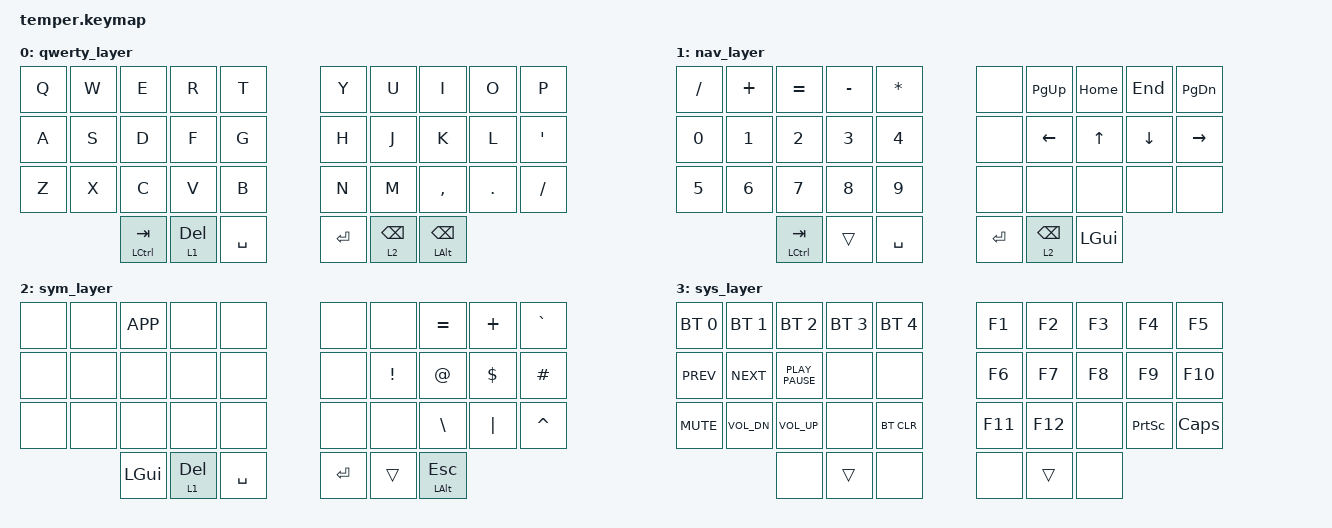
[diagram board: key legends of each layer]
/*
 * Copyright (c) 2020 The ZMK Contributors
 *
 * SPDX-License-Identifier: MIT
 */

#include <behaviors.dtsi>
#include <dt-bindings/zmk/bt.h>
#include <dt-bindings/zmk/keys.h>
#include <dt-bindings/zmk/mouse.h>

#define QWERTY 0
#define NAV 1
#define SYM 2
#define SYS 3

/ {
    conditional_layers {
        compatible = "zmk,conditional-layers";

        tri_layer {
            if-layers = <1 2>;
            then-layer = <3>;
        };
    };

    behaviors {
        holdlayer: holdlayer {
            compatible = "zmk,behavior-hold-tap";
            label = "HOLDLAYER";
            bindings = <&mo>, <&kp>;

            #binding-cells = <2>;
            tapping-term-ms = <1>;
        };
    };

    combos {
        compatible = "zmk,combos";

        parentesisOpen {
            bindings = <&kp LPAR>;
            key-positions = <12 13>;
            layers = <0>;
        };

        corcheteOpen {
            bindings = <&kp LBKT>;
            key-positions = <11 12>;
            layers = <0>;
        };

        llaveOpen {
            bindings = <&kp LBRC>;
            key-positions = <10 11>;
            layers = <0>;
        };

        minus {
            bindings = <&kp MINUS>;
            key-positions = <22 21>;
            layers = <0>;
        };

        amperson {
            bindings = <&kp AMPS>;
            key-positions = <22 23>;
            layers = <0>;
        };

        semicolon {
            bindings = <&kp SEMI>;
            key-positions = <27 28>;
            layers = <0>;
        };

        pointer {
            bindings = <&kp STAR>;
            key-positions = <27 26>;
            layers = <0>;
        };

        parentesisClose {
            bindings = <&kp RPAR>;
            key-positions = <16 17>;
            layers = <0>;
        };

        corcheteClose {
            bindings = <&kp RBKT>;
            key-positions = <17 18>;
            layers = <0>;
        };

        llaveClose {
            bindings = <&kp RBRC>;
            key-positions = <19 18>;
            layers = <0>;
        };
    };

    keymap {
        compatible = "zmk,keymap";

        qwerty_layer {
            bindings = <
&kp Q  &kp W  &kp E          &kp R                &kp T      &kp Y      &kp U              &kp I         &kp O    &kp P
&kp A  &kp S  &kp D          &kp F          &kp G      &kp H      &kp J        &kp K         &kp L    &kp SQT
&kp Z  &kp X  &kp C          &kp V                &kp B      &kp N      &kp M              &kp COMMA     &kp DOT  &kp FSLH
              &mt LCTRL TAB  &holdlayer 1 DEL  &kp SPACE  &kp ENTER  &holdlayer 2 BSPC  &mt LALT BSPC
            >;
        };

        nav_layer {
            bindings = <
&kp FSLH  &kp PLUS  &kp EQUAL      &kp MINUS  &kp STAR   &none      &kp PG_UP          &kp HOME      &kp END   &kp PG_DN
&kp N0    &kp N1    &kp N2         &kp N3     &kp N4     &none      &kp LEFT           &kp UP        &kp DOWN  &kp RIGHT
&kp N5    &kp N6    &kp N7         &kp N8     &kp N9     &none      &none              &none         &none     &none
                    &mt LCTRL TAB  &trans     &kp SPACE  &kp ENTER  &holdlayer 2 BSPC  &kp LEFT_GUI
            >;
        };

        sym_layer {
            bindings = <
&none          &none       &kp K_APP     &none            &none     &none     &none     &kp EQUAL     &kp PLUS  &kp GRAVE
&none          &none  &none  &none      &none      &none      &kp EXCL  &kp AT        &kp DLLR  &kp HASH
&none          &none           &none         &none                &none      &none      &none     &kp BSLH      &kp PIPE  &kp CARET
                                &kp LEFT_GUI  &holdlayer 1 DEL  &kp SPACE  &kp ENTER  &trans    &mt LALT ESC
            >;
        };

        sys_layer {
            bindings = <
&bt BT_SEL 0  &bt BT_SEL 1  &bt BT_SEL 2      &bt BT_SEL 3  &bt BT_SEL 4  &kp F1   &kp F2   &kp F3  &kp F4     &kp F5
&kp K_PREV    &kp K_NEXT    &kp K_PLAY_PAUSE  &none         &none         &kp F6   &kp F7   &kp F8  &kp F9     &kp F10
&kp K_MUTE    &kp C_VOL_DN  &kp C_VOL_UP      &none         &bt BT_CLR    &kp F11  &kp F12  &none   &kp PSCRN  &kp CAPS
                            &none            &trans        &none        &none   &trans   &none
            >;
        };
    };
};
